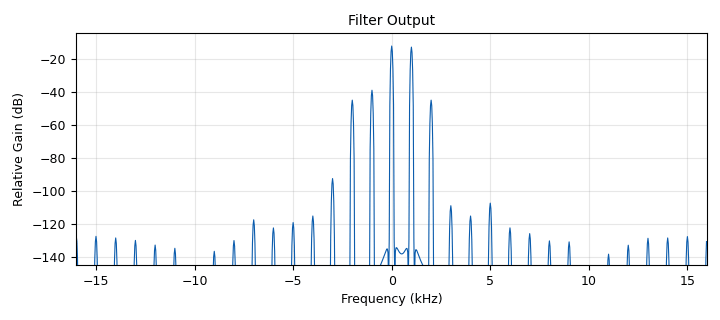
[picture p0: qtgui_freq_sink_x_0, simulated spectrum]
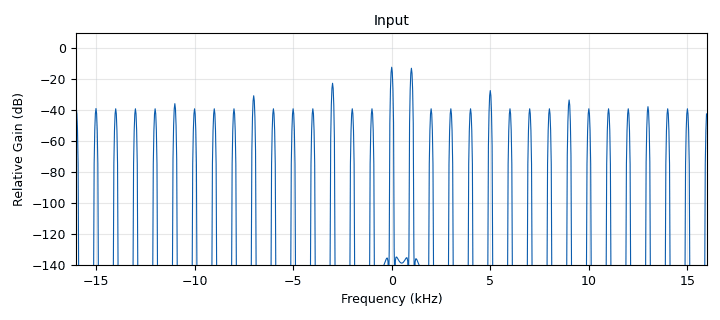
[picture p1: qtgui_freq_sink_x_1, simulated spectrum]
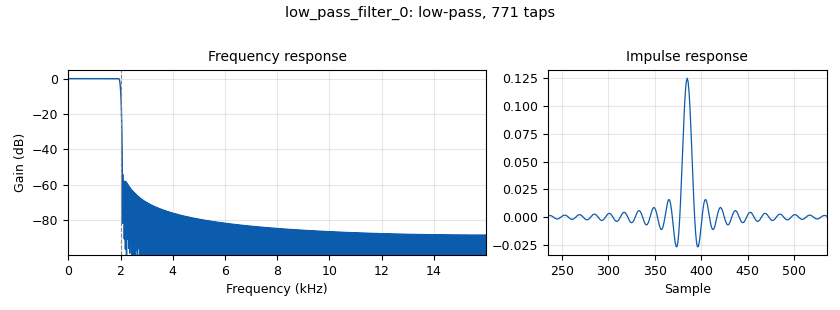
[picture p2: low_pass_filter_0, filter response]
options:
  parameters:
    generate_options: qt_gui
    id: complex_filter_low_pass
    output_language: python
    title: complex filter low pass
  states: {}

blocks:
- name: KHZ
  id: variable
  parameters:
    value: '1000'
  states: {}
- name: samp_rate
  id: variable
  parameters:
    value: '32000'
  states: {}
- name: analog_sig_source_x_0
  id: analog_sig_source_x
  parameters:
    amp: '1'
    freq: '1000'
    offset: '0'
    phase: '0'
    samp_rate: samp_rate
    type: complex
    waveform: analog.GR_SQR_WAVE
  states: {}
- name: blocks_throttle_0
  id: blocks_throttle
  parameters:
    samples_per_second: samp_rate
    type: complex
  states: {}
- name: low_pass_filter_0
  id: low_pass_filter
  parameters:
    cutoff_freq: 2*KHZ
    decim: '1'
    gain: '1'
    samp_rate: samp_rate
    type: fir_filter_ccf
    width: '100'
    win: window.WIN_HAMMING
  states: {}
- name: qtgui_freq_sink_x_0
  id: qtgui_freq_sink_x
  parameters:
    autoscale: 'True'
    bw: samp_rate
    fc: '0'
    fftsize: '1024'
    grid: 'True'
    name: '"Filter Output"'
    type: complex
  states: {}
- name: qtgui_freq_sink_x_1
  id: qtgui_freq_sink_x
  parameters:
    bw: samp_rate
    fc: '0'
    fftsize: '1024'
    name: '"Input"'
    type: complex
  states: {}

connections:
- [analog_sig_source_x_0, '0', blocks_throttle_0, '0']
- [blocks_throttle_0, '0', low_pass_filter_0, '0']
- [blocks_throttle_0, '0', qtgui_freq_sink_x_1, '0']
- [low_pass_filter_0, '0', qtgui_freq_sink_x_0, '0']

metadata:
  file_format: 1
  grc_version: 3.10.5.1
